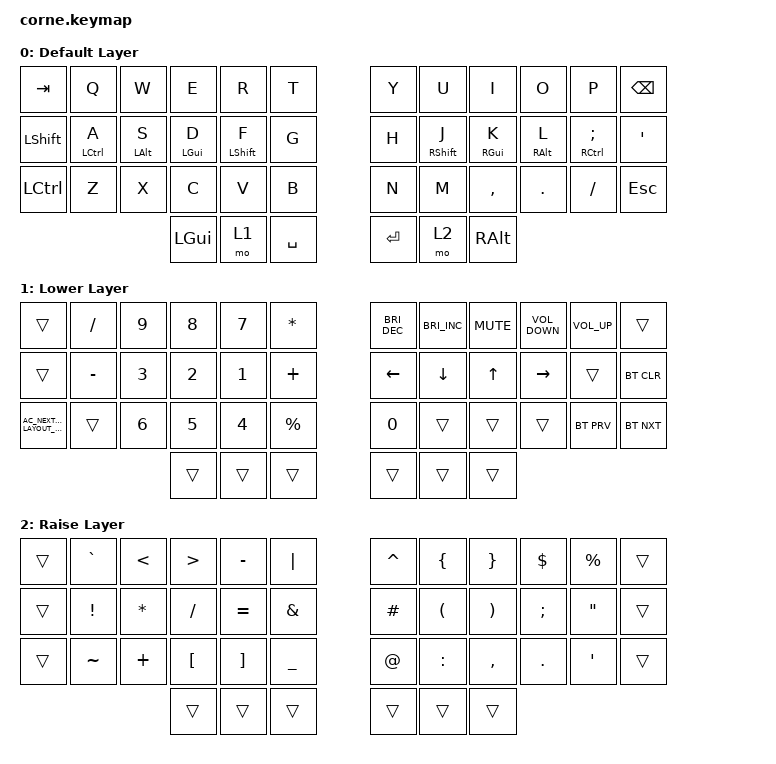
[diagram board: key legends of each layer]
/*
 * Copyright (c) 2020 The ZMK Contributors
 *
 * SPDX-License-Identifier: MIT
 */

#include <behaviors.dtsi>
#include <dt-bindings/zmk/bt.h>
#include <dt-bindings/zmk/keys.h>

/ {
    combos {
        compatible = "zmk,combos";

        tog_special_layer {
            bindings = <&mo 0>;
            key-positions = <37 40>;
        };
    };

    keymap {
        compatible = "zmk,keymap";

        default_layer {
            display-name = "Default Layer";

            // -----------------------------------------------------------------------------------------
            // |  TAB |  Q  |  W  |  E  |  R  |  T  |   |  Y  |  U   |  I  |  O  |  P  | BSPC |
            // | CTRL |  A  |  S  |  D  |  F  |  G  |   |  H  |  J   |  K  |  L  |  ;  |  '   |
            // | SHFT |  Z  |  X  |  C  |  V  |  B  |   |  N  |  M   |  ,  |  .  |  /  | ESC  |
            //                    | GUI | LWR | SPC |   | ENT | RSE  | ALT |

            bindings = <
&kp TAB     &kp Q        &kp W       &kp E       &kp R             &kp T        &kp Y    &kp U         &kp I       &kp O       &kp P           &kp BSPC
&kp LSHIFT  &mt LCTRL A  &mt LALT S  &mt LGUI D  &mt LEFT_SHIFT F  &kp G        &kp H    &mt RSHIFT J  &mt RGUI K  &mt RALT L  &mt RCTRL SEMI  &kp SQT
&kp LCTRL   &kp Z        &kp X       &kp C       &kp V             &kp B        &kp N    &kp M         &kp COMMA   &kp DOT     &kp FSLH        &kp ESC
                                     &kp LGUI    &mo 1             &kp SPACE    &kp RET  &mo 2         &kp RALT
            >;
        };

        lower_layer {
            display-name = "Lower Layer";

            // -----------------------------------------------------------------------------------------
            // |  TAB |  1  |  2  |  3  |  4  |  5  |   |  6  |  7  |  8  |  9  |  0  | BSPC |
            // | BTCLR| BT1 | BT2 | BT3 | BT4 | BT5 |   | LFT | DWN |  UP | RGT |     |      |
            // | SHFT |     |     |     |     |     |   |     |     |     |     |     |      |
            //                    | GUI |     | SPC |   | ENT |     | ALT |

            bindings = <
&trans                                &kp SLASH  &kp NUMBER_9  &kp NUMBER_8  &kp N7        &kp ASTERISK    &kp C_BRIGHTNESS_DEC  &kp C_BRIGHTNESS_INC  &kp C_MUTE  &kp C_VOLUME_DOWN  &kp C_VOLUME_UP  &trans
&trans                                &kp MINUS  &kp NUMBER_3  &kp NUMBER_2  &kp NUMBER_1  &kp PLUS        &kp LEFT              &kp DOWN              &kp UP      &kp RIGHT          &trans           &bt BT_CLR
&kp C_AC_NEXT_KEYBOARD_LAYOUT_SELECT  &trans     &kp NUMBER_6  &kp N5        &kp NUMBER_4  &kp PERCENT     &kp NUMBER_0          &trans                &trans      &trans             &bt BT_PRV       &bt BT_NXT
                                                               &trans        &trans        &trans          &trans                &trans                &trans
            >;
        };

        raise_layer {
            display-name = "Raise Layer";

            // -----------------------------------------------------------------------------------------
            // |  TAB |  !  |  @  |  #  |  $  |  %  |   |  ^  |  &  |  *  |  (  |  )  | BSPC |
            // | CTRL |     |     |     |     |     |   |  -  |  =  |  [  |  ]  |  \  |  `   |
            // | SHFT |     |     |     |     |     |   |  _  |  +  |  {  |  }  | "|" |  ~   |
            //                    | GUI |     | SPC |   | ENT |     | ALT |

            bindings = <
&trans  &kp GRAVE        &kp LESS_THAN  &kp GREATER_THAN  &kp MINUS          &kp PIPE          &kp CARET  &kp LEFT_BRACE        &kp RIGHT_BRACE        &kp DOLLAR     &kp PERCENT        &trans
&trans  &kp EXCLAMATION  &kp ASTERISK   &kp SLASH         &kp EQUAL          &kp AMPERSAND     &kp HASH   &kp LEFT_PARENTHESIS  &kp RIGHT_PARENTHESIS  &kp SEMICOLON  &kp DOUBLE_QUOTES  &trans
&trans  &kp TILDE        &kp PLUS       &kp LEFT_BRACKET  &kp RIGHT_BRACKET  &kp UNDERSCORE    &kp AT     &kp COLON             &kp COMMA              &kp PERIOD     &kp SQT            &trans
                                        &trans            &trans             &trans            &trans     &trans                &trans
            >;
        };
    };
};
